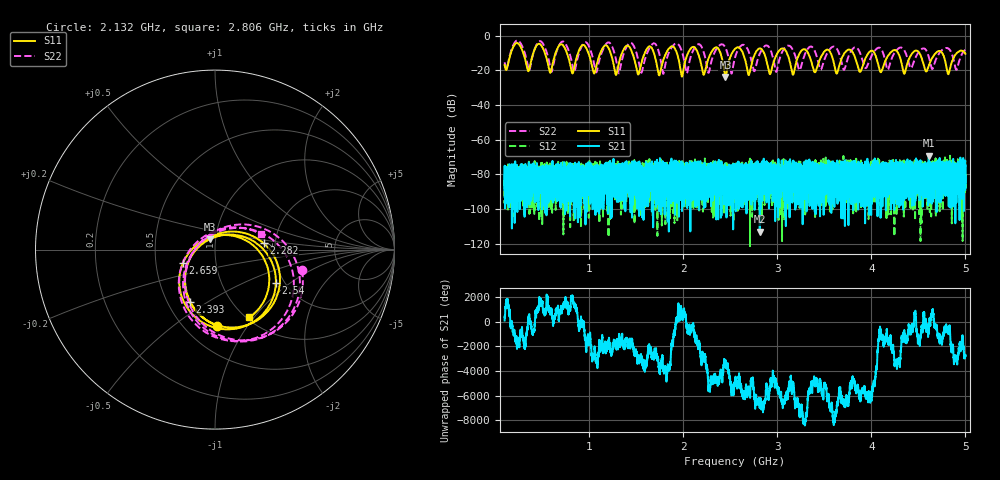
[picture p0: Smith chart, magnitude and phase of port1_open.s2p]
!Keysight Technologies N9917A: A.13.25
!Date: Thursday, 15 October 2026 16:10:28
!Timezone: (UTC-08:00) Pacific Time (US & Canada)
!Model: N9917A
!Serial: MY56072049
!GPS Latitude:
!GPS Longitude:
!GPS TimeStamp: 0001-01-01 00:00:00Z
!GPS Seconds Since Last Read: 0
!CHECKSUM:1729092371
!Correction: S11(Rdy)S21(Rdy)S12(Rdy)S22(Rdy)
!S2P File: Measurements:S11,S21,S12,S22:
# Hz S DB R 50
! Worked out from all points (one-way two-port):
!   10001 points, 100 MHz to 5 GHz, reference 50 ohm
!   highest |S21| = -69.14 dB at 4.61 GHz (marker M1); lowest = -113.1 dB at 2.813 GHz (marker M2)
!   lowest |S11| = -23.8 dB at 2.449 GHz (marker M3), VSWR 1.14, Z = 46.7 + j5.36 ohm
!   |S11| at or under -10 dB: 3.806 GHz to 3.97 GHz (164.1 MHz wide, 4.22 % of centre); 4.032 GHz to 4.201 GHz (168.8 MHz wide, 4.1 % of centre); 4.511 GHz to 4.685 GHz (174.7 MHz wide, 3.8 % of centre) (the widest 3 of 22)
!   |S22| runs from -22.1 to -2.8 dB; largest |S21 - S12| = 0.00048
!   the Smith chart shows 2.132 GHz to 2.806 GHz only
!   S11 on the Smith chart (normalised r, x): 2.132 GHz: 0.71, -0.74; 2.282 GHz: 1.73, +0.14; 2.393 GHz: 0.65, -0.42; 2.54 GHz: 1.81, -0.78; 2.659 GHz: 0.69, -0.11; 2.806 GHz: 1.03, -0.95
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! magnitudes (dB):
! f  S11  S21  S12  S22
! 100 MHz  -17.0  -93.0  -77.0  -15.4
! 231.8 MHz  -4.3  -74.6  -86.4  -2.8
! 360.2 MHz  -19.8  -82.9  -78.2  -20.1
! 469.9 MHz  -4.8  -81.0  -76.4  -3.2
! 598.3 MHz  -19.5  -81.0  -79.7  -20.9
! 916.8 MHz  -6.0  -78.7  -85.0  -6.5
! 1.075 GHz  -17.8  -78.9  -77.8  -21.2
! 1.734 GHz  -21.3  -82.6  -80.3  -8.3
! 2.039 GHz  -11.6  -82.9  -82.0  -21.7
! 2.132 GHz  -7.4  -83.9  -84.7  -6.1
! 2.282 GHz  -11.3  -76.7  -78.9  -18.8
! 2.393 GHz  -9.8  -83.2  -80.2  -5.3
! 2.449 GHz  -23.8  -78.5  -83.3  -7.0
! 2.54 GHz  -8.3  -80.1  -74.4  -14.9
! 2.55 GHz  -7.7  -77.8  -78.4  -12.7
! 2.659 GHz  -14.2  -91.9  -79.1  -5.8
! 2.806 GHz  -7.5  -77.1  -77.7  -11.3
! 2.813 GHz  -7.4  -113.1  -80.4  -10.4
! 3.367 GHz  -16.0  -78.6  -84.1  -6.4
! 4.184 GHz  -11.2  -87.4  -88.6  -18.9
! 4.61 GHz  -17.4  -69.1  -87.7  -12.2
! 5 GHz  -10.5  -81.3  -83.6  -8.1
